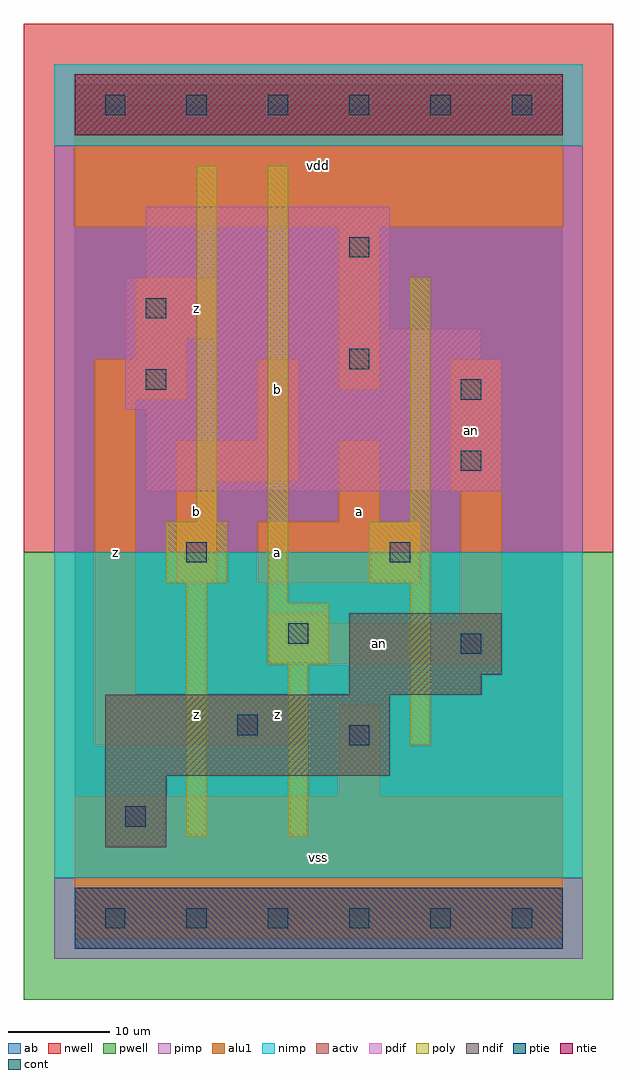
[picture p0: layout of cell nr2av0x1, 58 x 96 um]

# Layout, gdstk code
import gdstk
lib = gdstk.Library(unit=1e-6, precision=1e-09)
def R(c, l, rs):  # rectangles x0, y0, x1, y1
    for r in rs: c.add(gdstk.rectangle(r[:2], r[2:], *l))
def A(c, l, x, y, w, h, nx, ny, dx, dy):  # array of equal rectangles
    R(c, l, [(x+i*dx, y+j*dy, x+i*dx+w, y+j*dy+h) for i in range(nx) for j in range(ny)])
ndif = (3, 0)
pdif = (4, 0)
ntie = (5, 0)
ptie = (6, 0)
cont = (25, 0)
pwell = (41, 0)
nwell = (42, 0)
activ = (43, 0)
pimp = (44, 0)
nimp = (45, 0)
poly = (46, 0)
alu1 = (49, 0)
ab = (63, 0)

nr2av0x1 = lib.new_cell('nr2av0x1')
R(nr2av0x1, ndif, [(3,7,9,14), (3,14,31,22), (27,22,40,24), (27,24,42,30)])
R(nr2av0x1, pdif, [(7,42,42,50), (5,50,42,55), (5,55,40,58), (5,58,31,63), (7,63,31,70)])
R(nr2av0x1, ntie, [(0,77,48,83)])
R(nr2av0x1, ptie, [(0,-3,48,3)])
A(nr2av0x1, cont, 3, -1, 2, 2, 6, 2, 8, 80)
R(nr2av0x1, cont, [(5,9,7,11), (27,17,29,19), (16,18,18,20), (38,26,40,28), (21,27,23,29), (11,35,13,37), (31,35,33,37), (38,44,40,46), (38,51,40,53), (7,52,9,54), (27,54,29,56), (7,59,9,61), (27,65,29,67)])
R(nr2av0x1, pwell, [(-5,-8,53,36)])
R(nr2av0x1, nwell, [(-5,36,53,88)])
R(nr2av0x1, activ, [(0,-3,48,3), (3,7,9,14), (3,14,31,22), (27,22,40,24), (27,24,42,30), (7,42,42,50), (5,50,42,55), (5,55,40,58), (5,58,31,63), (7,63,31,70), (0,77,48,83)])
R(nr2av0x1, pimp, [(-2,-4,50,4), (-2,36,50,76)])
R(nr2av0x1, nimp, [(-2,4,50,36), (-2,76,50,84)])
R(nr2av0x1, poly, [(11,8,13,33), (21,8,23,25), (33,17,35,33), (19,25,25,31), (19,31,21,74), (9,33,15,39), (29,33,35,39), (12,39,14,74), (33,39,35,63)])
R(nr2av0x1, alu1, [(0,-2,48,12), (26,12,30,21), (2,17,23,22), (2,22,6,51), (19,25,42,29), (19,29,25,30), (38,29,42,42), (10,33,14,43), (18,33,34,39), (26,39,30,47), (37,42,42,55), (10,43,22,47), (18,47,22,55), (2,51,11,55), (26,52,30,68), (6,55,11,57), (6,57,14,63), (0,68,48,82)])
R(nr2av0x1, ab, [(0,0,48,80)])
nr2av0x1.add(gdstk.Label('an', (30,27), layer=49, texttype=0))
nr2av0x1.add(gdstk.Label('an', (39,48), layer=49, texttype=0))
nr2av0x1.add(gdstk.Label('z', (4,36), layer=49, texttype=0))
nr2av0x1.add(gdstk.Label('z', (20,20), layer=49, texttype=0))
nr2av0x1.add(gdstk.Label('z', (12,20), layer=49, texttype=0))
nr2av0x1.add(gdstk.Label('a', (20,36), layer=49, texttype=0))
nr2av0x1.add(gdstk.Label('b', (12,40), layer=49, texttype=0))
nr2av0x1.add(gdstk.Label('b', (20,52), layer=49, texttype=0))
nr2av0x1.add(gdstk.Label('z', (12,60), layer=49, texttype=0))
nr2av0x1.add(gdstk.Label('vss', (24,6), layer=49, texttype=0))
nr2av0x1.add(gdstk.Label('a', (28,40), layer=49, texttype=0))
nr2av0x1.add(gdstk.Label('vdd', (24,74), layer=49, texttype=0))

lib.write_gds('nr2av0x1.gds')
